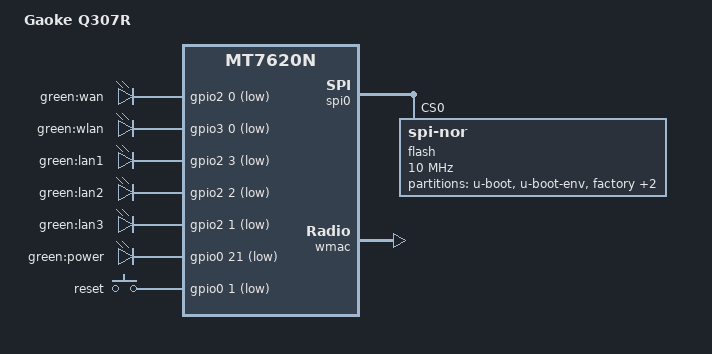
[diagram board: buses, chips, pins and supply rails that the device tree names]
#include "mt7620n.dtsi"

#include <dt-bindings/gpio/gpio.h>
#include <dt-bindings/input/input.h>

/ {
	compatible = "gaoke,q307r", "ralink,mt7620n-soc";
	model = "Gaoke Q307R";

	aliases {
		led-boot = &led_power;
		led-failsafe = &led_power;
		led-running = &led_power;
		led-upgrade = &led_power;
	};

	chosen {
		bootargs = "console=ttyS0,57600";
	};

	leds {
		compatible = "gpio-leds";

		wan {
			label = "green:wan";
			gpios = <&gpio2 0 GPIO_ACTIVE_LOW>;
		};

		wlan {
			label = "green:wlan";
			gpios = <&gpio3 0 GPIO_ACTIVE_LOW>;
		};

		lan1 {
			label = "green:lan1";
			gpios = <&gpio2 3 GPIO_ACTIVE_LOW>;
		};

		lan2 {
			label = "green:lan2";
			gpios = <&gpio2 2 GPIO_ACTIVE_LOW>;
		};

		lan3 {
			label = "green:lan3";
			gpios = <&gpio2 1 GPIO_ACTIVE_LOW>;
		};

		led_power: power {
			label = "green:power";
			gpios = <&gpio0 21 GPIO_ACTIVE_LOW>;
		};
	};

	keys {
		compatible = "gpio-keys";

		reset {
			label = "reset";
			gpios = <&gpio0 1 GPIO_ACTIVE_LOW>;
			linux,code = <KEY_RESTART>;
		};
	};
};

&gpio1 {
	status = "okay";
};

&gpio2 {
	status = "okay";
};

&gpio3 {
	status = "okay";
};

&spi0 {
	status = "okay";

	flash@0 {
		compatible = "jedec,spi-nor";
		reg = <0>;
		spi-max-frequency = <10000000>;

		partitions {
			compatible = "fixed-partitions";
			#address-cells = <1>;
			#size-cells = <1>;

			partition@0 {
				label = "u-boot";
				reg = <0x0 0x30000>;
				read-only;
			};

			partition@30000 {
				label = "u-boot-env";
				reg = <0x30000 0x10000>;
				read-only;
			};

			factory: partition@40000 {
				label = "factory";
				reg = <0x40000 0x10000>;
				read-only;
			};

			partition@50000 {
				compatible = "denx,uimage";
				label = "firmware";
				reg = <0x50000 0xfa0000>;
			};

            nvram: partition@ff0000 {
				label = "nvram";
				reg = <0xff0000 0x10000>;
				read-only;
			};
		};
	};
};

&ethernet {
	mtd-mac-address = <&factory 0x28>;

	mediatek,portmap = "wlll";
};

&wmac {
	ralink,mtd-eeprom = <&factory 0x0>;
	mtd-mac-address = <&factory 0x4>;
};

&state_default {
	default {
		groups = "ephy", "wled", "i2c", "wdt", "pa", "spi refclk";
		function = "gpio";
	};
};
